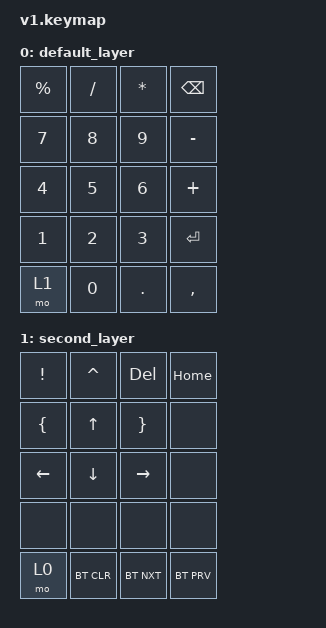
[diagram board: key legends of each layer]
// This file was generated from a template. Edit it to match your keyboard.
// See https://zmk.dev/docs/development/hardware-integration/new-shield for more instructions.

#include <behaviors.dtsi>
#include <dt-bindings/zmk/keys.h>
#include <dt-bindings/zmk/bt.h>

/ {
    // Define a default keymap here.
    // See https://zmk.dev/docs/development/hardware-integration/new-shield#default-keymap.
    keymap {
        compatible = "zmk,keymap";

        default_layer {
            bindings = <
                &kp PERCENT &kp SLASH &kp STAR &kp BSPC
                &kp N7 &kp N8 &kp N9 &kp MINUS
                &kp N4 &kp N5 &kp N6 &kp PLUS
                &kp N1 &kp N2 &kp N3 &kp ENTER
                &mo 1  &kp N0 &kp DOT &kp COMMA
            >;
        };
        second_layer {
            bindings = <
                &kp EXCL    &kp CARET    &kp DELETE  &kp HOME
                &kp LBRC    &kp UP       &kp RBRC    &none
                &kp LEFT    &kp DOWN     &kp RIGHT   &none
                &none       &none        &none       &none
                &mo 0       &bt BT_CLR  &bt BT_NXT   &bt BT_PRV
            >;
        };
    };
};
